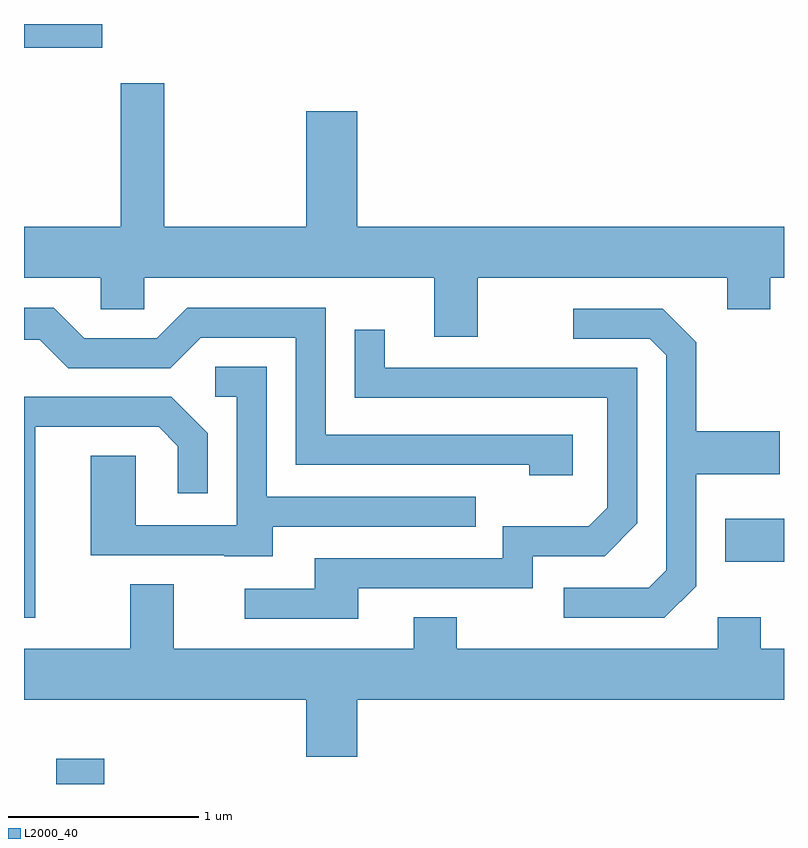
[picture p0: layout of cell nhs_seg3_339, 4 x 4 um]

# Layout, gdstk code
import gdstk
lib = gdstk.Library(unit=1e-6, precision=1e-09)
def R(c, l, rs):  # rectangles x0, y0, x1, y1
    for r in rs: c.add(gdstk.rectangle(r[:2], r[2:], *l))
def P(c, l, *ps):  # polygons
    for p in ps: c.add(gdstk.Polygon(p, *l))
L2000_40 = (2000, 40)

nhs_seg3_339 = lib.new_cell('nhs_seg3_339')
R(nhs_seg3_339, L2000_40, [(193.781,1249.892,194.034,1250.024), (197.301,1251.061,197.611,1251.289), (193.611,1253.766,194.024,1253.892)])
P(nhs_seg3_339, L2000_40, [(195.999,1252.556),(197.311,1252.556),(197.311,1252.391),(197.539,1252.391),(197.539,1252.556),(197.611,1252.556),(197.611,1252.824),(195.364,1252.824),(195.364,1253.434),(195.096,1253.434),(195.096,1252.824),(194.349,1252.824),(194.349,1253.579),(194.121,1253.579),(194.121,1252.824),(193.611,1252.824),(193.611,1252.556),(194.016,1252.556),(194.016,1252.391),(194.244,1252.391),(194.244,1252.556),(195.771,1252.556),(195.771,1252.246),(195.999,1252.246)],
  [(196.499,1251.729),(195.199,1251.729),(195.199,1252.399),(194.469,1252.399),(194.309,1252.239),(193.927,1252.239),(193.767,1252.399),(193.611,1252.399),(193.611,1252.231),(193.694,1252.231),(193.844,1252.081),(194.382,1252.081),(194.542,1252.241),(195.041,1252.241),(195.041,1251.571),(196.271,1251.571),(196.271,1251.516),(196.499,1251.516)],
  [(197.149,1250.934),(197.149,1251.521),(197.589,1251.521),(197.589,1251.749),(197.149,1251.749),(197.149,1252.217),(196.972,1252.394),(196.503,1252.394),(196.503,1252.236),(196.904,1252.236),(196.991,1252.149),(196.991,1251.017),(196.899,1250.924),(196.453,1250.924),(196.453,1250.766),(196.982,1250.766)],
  [(195.369,1250.921),(196.289,1250.921),(196.289,1251.091),(196.667,1251.091),(196.839,1251.264),(196.839,1252.084),(195.509,1252.084),(195.509,1252.283),(195.351,1252.283),(195.351,1251.926),(196.681,1251.926),(196.681,1251.347),(196.584,1251.249),(196.131,1251.249),(196.131,1251.079),(195.141,1251.079),(195.141,1250.919),(194.773,1250.919),(194.773,1250.761),(195.369,1250.761)],
  [(194.919,1251.246),(195.988,1251.246),(195.988,1251.404),(194.889,1251.404),(194.889,1252.089),(194.618,1252.089),(194.618,1251.931),(194.731,1251.931),(194.731,1251.254),(194.199,1251.254),(194.199,1251.619),(193.961,1251.619),(193.961,1251.096),(194.665,1251.096),(194.665,1251.091),(194.919,1251.091)],
  [(193.669,1251.771),(194.319,1251.771),(194.421,1251.669),(194.421,1251.423),(194.579,1251.423),(194.579,1251.737),(194.387,1251.929),(193.611,1251.929),(193.611,1250.766),(193.669,1250.766)],
  [(195.364,1250.336),(197.611,1250.336),(197.611,1250.604),(197.489,1250.604),(197.489,1250.769),(197.261,1250.769),(197.261,1250.604),(195.889,1250.604),(195.889,1250.769),(195.661,1250.769),(195.661,1250.604),(194.399,1250.604),(194.399,1250.944),(194.171,1250.944),(194.171,1250.604),(193.611,1250.604),(193.611,1250.336),(195.096,1250.336),(195.096,1250.036),(195.364,1250.036)])

lib.write_gds('nhs_seg3_339.gds')
